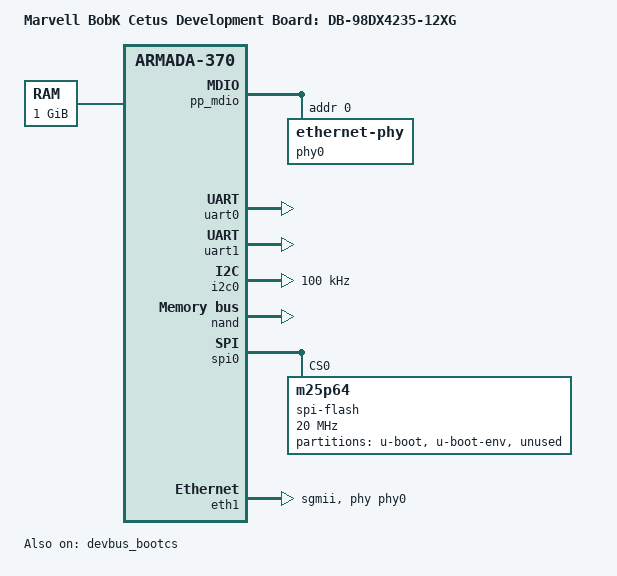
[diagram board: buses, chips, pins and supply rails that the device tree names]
// SPDX-License-Identifier: (GPL-2.0+ OR MIT)
/*
 * Device Tree file for DB-XC3-24G4XG board
 *
 * Copyright (C) 2016 Allied Telesis Labs
 *
 * Based on armada-xp-db.dts
 *
 * Note: this Device Tree assumes that the bootloader has remapped the
 * internal registers to 0xf1000000 (instead of the default
 * 0xd0000000). The 0xf1000000 is the default used by the recent,
 * DT-capable, U-Boot bootloaders provided by Marvell. Some earlier
 * boards were delivered with an older version of the bootloader that
 * left internal registers mapped at 0xd0000000. If you are in this
 * situation, you should either update your bootloader (preferred
 * solution) or the below Device Tree should be adjusted.
 */

/dts-v1/;
#include "armada-xp-98dx3336.dtsi"

/ {
	model = "Marvell BobK Cetus Development Board: DB-98DX4235-12XG";
	compatible = "marvell,db-xc3-24g4xg", "marvell,msys-bobk", "marvell,msys-bobk-cetus", "marvell,msys-bobk-cetus-db", "marvell,armada-370-xp";

	chosen {
		bootargs = "console=ttyS0,115200 earlyprintk";
	};

	reserved-memory {
		#address-cells = <2>;
		#size-cells = <2>;
		ranges;

		prestera_rsvd: buffer@0x1000000 {
			/* to be used as a shared pool of DMA buffers for a set of devices */
			compatible = "shared-dma-pool";
			/* No one other than devices registered for that mem, may use this area */
			no-map;

			/* Base addr (first 2 cells) requires alignment, we choose start of memory */
			reg = <0x0 0x1000000 0x0 0x1000000>;

		};
	};

	mv_dma {
		compatible = "marvell,mv_dma";
		memory-region = <&prestera_rsvd>;
		status = "okay";
	};

	memory {
		device_type = "memory";
		reg = <0 0x00000000 0 0x40000000>; /* 1 GB */
	};

	soc {
		switch: switch@a8000000 {
			ranges = <0 MBUS_ID(0x03, 0x00) 0 0x400000>;

			pp_mdio: mdio@54000000 {
				#address-cells = <1>;
				#size-cells = <0>;
				compatible = "marvell,orion-mdio";
				reg = < 0x380000 0x4 >;
				clocks = <&gateclk 4>;

				phy0: ethernet-phy@0 {
					reg = < 0 0 >;
				};
			};
		};

		internal-regs {

			mdio: mdio@72004 {
				compatible = "none";
				status = "disabled";
			};

			L2: l2-cache@8000 {
				compatible = "arm,l220-cache";
/*				arm,outer-sync-disable;*/
			};
		};

		prestera {
			compatible = "marvell,prestera";
			interrupts = <33>, <34>, <35>;
			status = "okay";
		};
	};
};

&devbus_bootcs {
	status = "okay";

	/* Device Bus parameters are required */

	/* Read parameters */
	devbus,bus-width    = <16>;
	devbus,turn-off-ps  = <60000>;
	devbus,badr-skew-ps = <0>;
	devbus,acc-first-ps = <124000>;
	devbus,acc-next-ps  = <248000>;
	devbus,rd-setup-ps  = <0>;
	devbus,rd-hold-ps   = <0>;

	/* Write parameters */
	devbus,sync-enable = <0>;
	devbus,wr-high-ps  = <60000>;
	devbus,wr-low-ps   = <60000>;
	devbus,ale-wr-ps   = <60000>;
};

&uart0 {
	status = "okay";
};

&uart1 {
	status = "okay";
};

&i2c0 {
	clock-frequency = <100000>;
	status = "okay";
};

&nand {
	status = "okay";
	label = "pxa3xx_nand-0";
	num-cs = <1>;
	marvell,nand-keep-config;
	nand-on-flash-bbt;
	nand-ecc-strength = <4>;
	nand-ecc-step-size = <512>;
};

&spi0 {
	status = "okay";

	spi-flash@0 {
		#address-cells = <1>;
		#size-cells = <1>;
		compatible = "m25p64";
		reg = <0>; /* Chip select 0 */
		spi-max-frequency = <20000000>;
		m25p,fast-read;

		partition@u-boot {
			reg = <0x00000000 0x00100000>;
			label = "u-boot";
		};
		partition@u-boot-env {
			reg = <0x00100000 0x00040000>;
			label = "u-boot-env";
		};
		partition@unused {
			reg = <0x00140000 0x00ec0000>;
			label = "unused";
		};
	};
};

&pinctrl {
	mdio_pins: mdio-pins {
		marvell,pins = "mpp32", "mpp31";
		marvell,function = "ge";
	};
};

&pp0 {
	compatible = "marvell,prestera-98dx42xx";
	reg = <0 0x80000>;
};

&eth1 {
	status = "okay";
	phy = <&phy0>;
	phy-mode = "sgmii";
};


